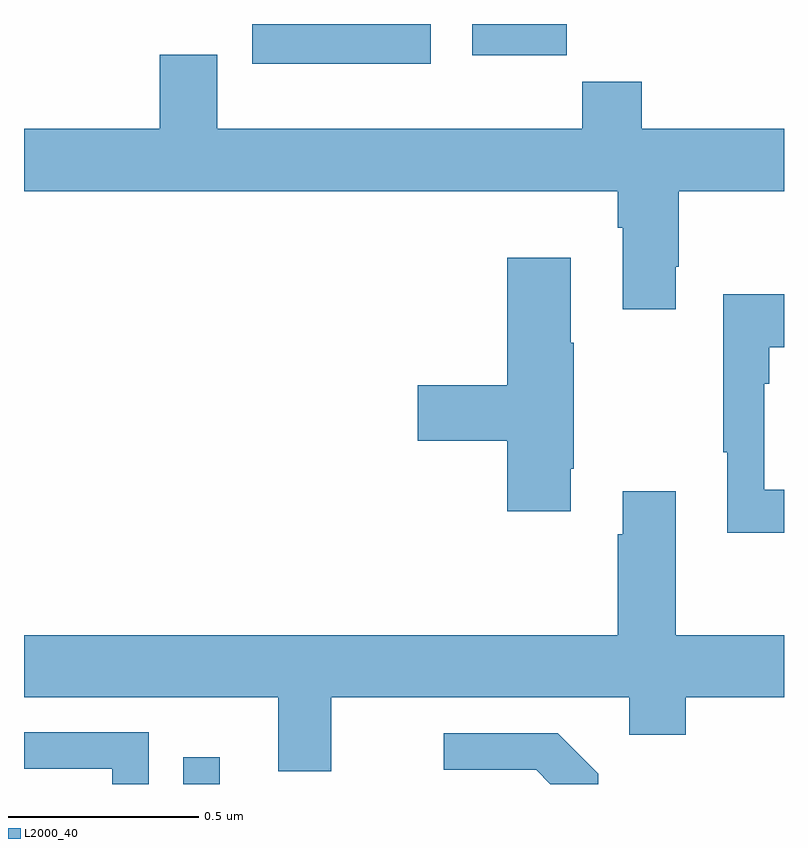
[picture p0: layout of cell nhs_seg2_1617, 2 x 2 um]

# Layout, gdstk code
import gdstk
lib = gdstk.Library(unit=1e-6, precision=1e-09)
def R(c, l, rs):  # rectangles x0, y0, x1, y1
    for r in rs: c.add(gdstk.rectangle(r[:2], r[2:], *l))
def P(c, l, *ps):  # polygons
    for p in ps: c.add(gdstk.Polygon(p, *l))
L2000_40 = (2000, 40)

nhs_seg2_1617 = lib.new_cell('nhs_seg2_1617')
R(nhs_seg2_1617, L2000_40, [(131.419,588.8,131.515,588.871), (131.6,590.696,132.07,590.8), (132.179,590.718,132.428,590.8)])
P(nhs_seg2_1617, L2000_40, [(132.715,590.161),(132.723,590.161),(132.723,590.36),(133,590.36),(133,590.524),(132.626,590.524),(132.626,590.648),(132.469,590.648),(132.469,590.524),(131.509,590.524),(131.509,590.719),(131.357,590.719),(131.357,590.524),(131,590.524),(131,590.36),(132.563,590.36),(132.563,590.264),(132.575,590.264),(132.575,590.049),(132.715,590.049)],
  [(132.439,589.63),(132.447,589.63),(132.447,589.961),(132.439,589.961),(132.439,590.185),(132.272,590.185),(132.272,589.85),(132.036,589.85),(132.036,589.703),(132.272,589.703),(132.272,589.518),(132.439,589.518)],
  [(133,589.574),(132.948,589.574),(132.948,589.853),(132.961,589.853),(132.961,589.949),(133,589.949),(133,590.089),(132.84,590.089),(132.84,589.673),(132.851,589.673),(132.851,589.461),(133,589.461)],
  [(131.809,589.028),(132.593,589.028),(132.593,588.929),(132.741,588.929),(132.741,589.028),(133,589.028),(133,589.192),(132.715,589.192),(132.715,589.57),(132.575,589.57),(132.575,589.457),(132.563,589.457),(132.563,589.192),(131,589.192),(131,589.028),(131.669,589.028),(131.669,588.834),(131.809,588.834)],
  [(131.328,588.936),(131,588.936),(131,588.84),(131.232,588.84),(131.232,588.8),(131.328,588.8)],
  [(132.511,588.827),(132.405,588.933),(132.105,588.933),(132.105,588.837),(132.348,588.837),(132.385,588.8),(132.511,588.8)])

lib.write_gds('nhs_seg2_1617.gds')
